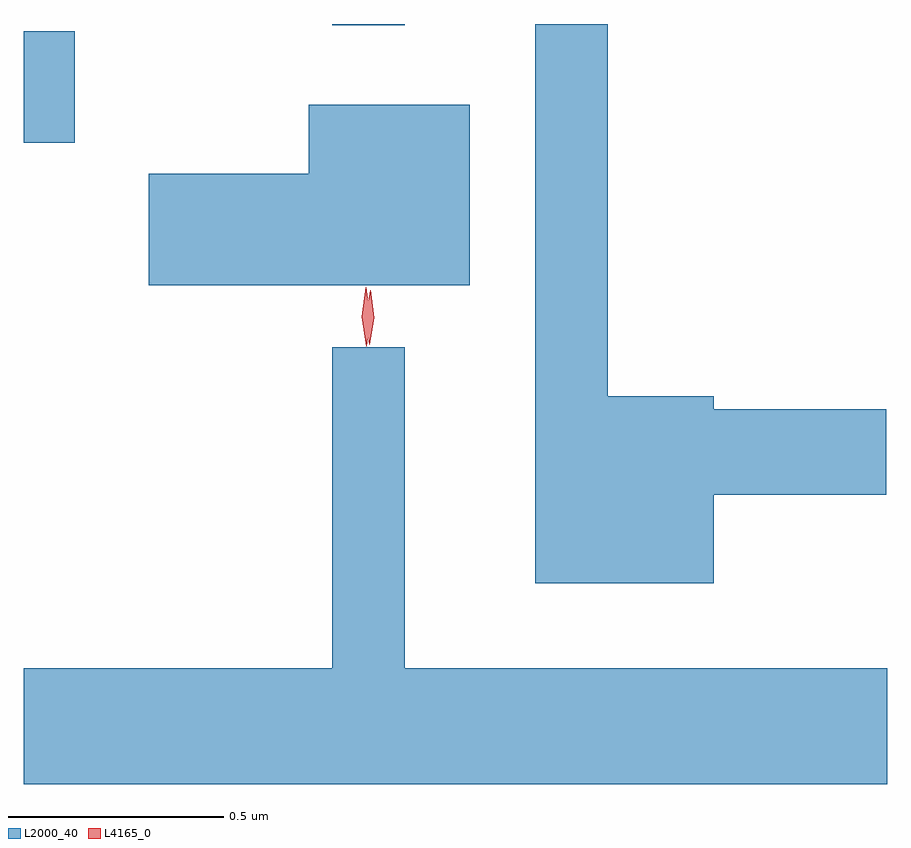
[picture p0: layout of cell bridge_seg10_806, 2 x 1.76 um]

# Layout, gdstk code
import gdstk
lib = gdstk.Library(unit=1e-6, precision=1e-09)
def R(c, l, rs):  # rectangles x0, y0, x1, y1
    for r in rs: c.add(gdstk.rectangle(r[:2], r[2:], *l))
def P(c, l, *ps):  # polygons
    for p in ps: c.add(gdstk.Polygon(p, *l))
L2000_40 = (2000, 40)
L4165_0 = (4165, 0)

bridge_seg10_806 = lib.new_cell('bridge_seg10_806')
R(bridge_seg10_806, L2000_40, [(609.426,2119.841,609.544,2120.099), (610.141,2120.113,610.309,2120.116)])
P(bridge_seg10_806, L2000_40, [(611.024,2119.026),(611.424,2119.026),(611.424,2119.224),(611.024,2119.224),(611.024,2119.254),(610.779,2119.254),(610.779,2120.116),(610.611,2120.116),(610.611,2118.821),(611.024,2118.821)],
  [(610.459,2119.929),(610.086,2119.929),(610.086,2119.769),(609.716,2119.769),(609.716,2119.511),(610.459,2119.511)],
  [(611.426,2118.624),(610.309,2118.624),(610.309,2119.368),(610.141,2119.368),(610.141,2118.624),(609.426,2118.624),(609.426,2118.356),(611.426,2118.356)])
P(bridge_seg10_806, L4165_0, [(610.219,2119.37),(610.219,2119.37),(610.209,2119.438),(610.218,2119.506),(610.218,2119.506),(610.219,2119.506),(610.229,2119.438),(610.22,2119.37)],
  [(610.227,2119.373),(610.226,2119.374),(610.218,2119.436),(610.228,2119.499),(610.229,2119.5),(610.23,2119.499),(610.238,2119.436),(610.227,2119.374)])

lib.write_gds('bridge_seg10_806.gds')
